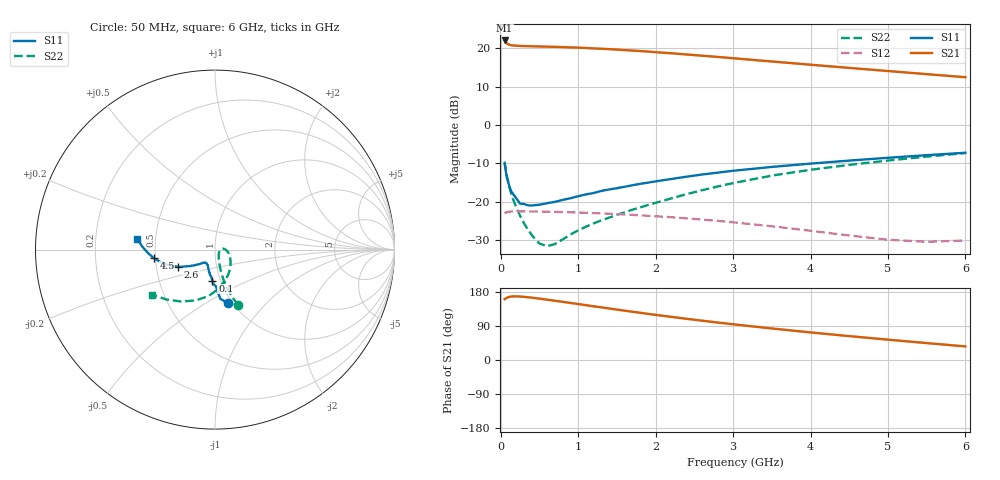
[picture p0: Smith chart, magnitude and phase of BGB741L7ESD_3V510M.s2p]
! (c) 2009  Infineon Technologies AG, Munich
!  Infineon Technologies AG
!  BGB741L7ESD
!  Vce = 3.5V, Ic = 10.0mA
!  DATUM: 30.06.2009 10:09:24
# GHz  S  MA  R  50
!f  S11  S21  S12  S22
!GHz  Mag  Ang  Mag  Ang  Mag  Ang  Mag  Ang
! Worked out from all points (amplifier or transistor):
!   44 points, 50 MHz to 6 GHz, reference 50 ohm
!   highest |S21| = 22.1 dB at 50 MHz (marker M1)
!   |S21| within 3 dB of that: start of sweep to 1.966 GHz
!   unconditionally stable (mu >= 1): 198.7 MHz to end of sweep
!   at 120 MHz: K = 0.97, MSG = 21.7 dB, |S12| = -22.6 dB
!   at 1 GHz: K = 1.03, MAG = 20.4 dB, |S12| = -22.8 dB
!   at 6 GHz: K = 2.40, MAG = 14.7 dB, |S12| = -30.1 dB
!   lowest NFmin = 0.98 dB at 450 MHz
!   S11 on the Smith chart (normalised r, x): 50 MHz: 0.96, -0.63; 100 MHz: 0.92, -0.33; 2.6 GHz: 0.65, -0.13; 4.5 GHz: 0.49, -0.05; 6 GHz: 0.39, +0.06
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0.05  0.3087 -76.0  12.69 160.5  0.07049 20.0  0.3347 -67.4
0.07  0.2305 -86.7  11.8 163.2  0.07277 14.2  0.2459 -71.7
0.1  0.1738 -94.8  11.25 165.8  0.07393 9.7  0.1734 -74.2
0.15  0.1307 -104.4  10.94 167.7  0.07475 5.8  0.1149 -74.5
0.2  0.1112 -109.5  10.84 167.9  0.07493 3.6  0.08479 -73.4
0.3  0.09369 -118.6  10.72 166.7  0.07494 0.9  0.05269 -66.6
0.5  0.09153 -126.7  10.59 161.9  0.07457 -2.2  0.02857 -39.3
0.6  0.096 -130.6  10.53 159.2  0.07423 -3.4  0.0264 -22.5
0.8  0.1058 -133.7  10.39 153.5  0.0734 -5.4  0.03231 -0.0
1.1  0.1249 -138.8  10.12 144.7  0.07191 -8.2  0.04739 6.5
1.4  0.1448 -142.6  9.777 136.0  0.06993 -10.5  0.06222 -3.1
1.6  0.157 -145.4  9.498 130.2  0.06832 -12.0  0.07293 -11.0
1.9  0.1776 -148.4  9.092 121.8  0.06579 -14.0  0.09086 -24.2
2.2  0.1982 -151.6  8.644 113.9  0.06291 -15.6  0.1106 -38.2
2.6  0.2268 -155.0  8.029 103.8  0.05862 -17.5  0.1416 -54.9
3  0.2538 -158.5  7.441 94.3  0.05404 -18.6  0.1752 -69.5
3.5  0.2848 -163.1  6.75 83.2  0.04798 -18.6  0.2195 -84.8
4  0.3146 -167.7  6.126 72.8  0.04193 -16.7  0.2616 -98.0
4.5  0.3446 -172.2  5.566 63.0  0.03636 -11.9  0.3027 -110.8
5  0.3749 -177.3  5.069 53.6  0.03206 -3.2  0.3451 -123.0
5.5  0.4055 177.6  4.617 44.6  0.03008 9.2  0.3881 -134.2
6  0.4361 172.2  4.21 35.8  0.03133 22.5  0.4324 -144.6
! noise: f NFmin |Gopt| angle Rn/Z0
0.45  0.98  0.04  152  0.13
0.9  1  0.06  126  0.13
1.8  1.04  0.08  120  0.22
2.4  1.07  0.1  119  0.29
3  1.12  0.12  135  0.2
5.5  1.75  0.17  172  0.16
